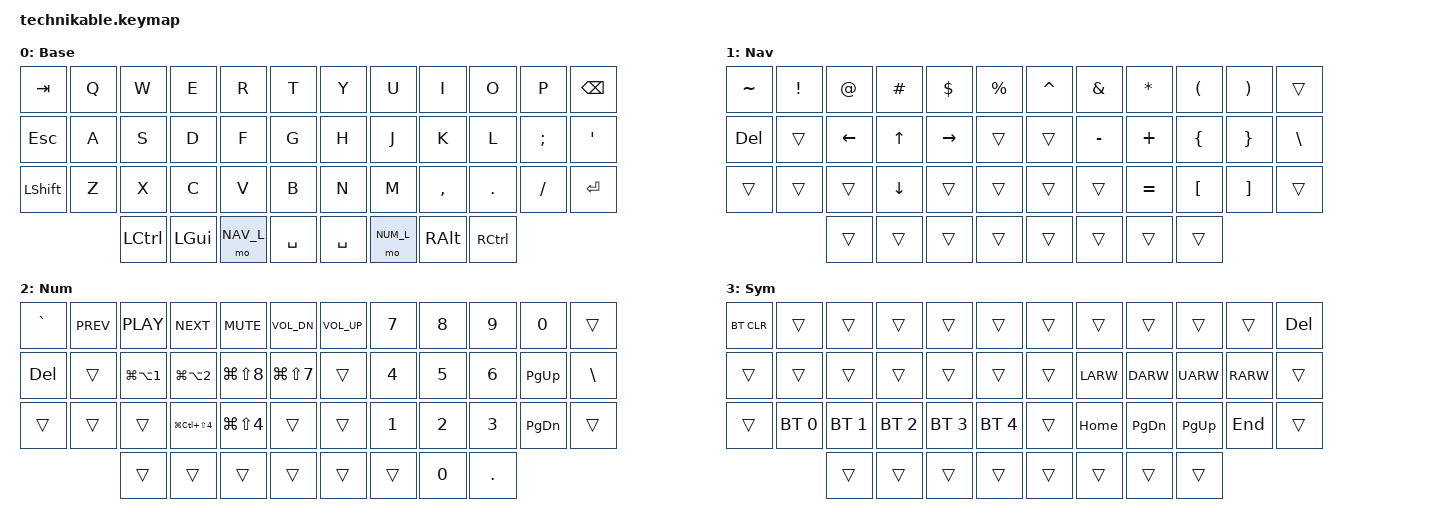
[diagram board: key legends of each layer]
/*
 * Copyright (c) 2022 Pete Johanson
 *
 * SPDX-License-Identifier: MIT
 */

#include <behaviors.dtsi>
#include <dt-bindings/zmk/keys.h>
#include <dt-bindings/zmk/bt.h>
#include <dt-bindings/zmk/outputs.h>

#define BAS_L 0
#define NAV_L 1
#define NUM_L 2
#define SYM_L 3

// Using layer taps on thumbs, having quick tap as well helps w/ repeating space/backspace
&lt { quick_tap_ms = <200>; };

/ {
    chosen {
       zmk,matrix_transform = &ortho_transform;
    };
    soft_off {
        hold-time-ms = <5000>;
    };
    conditional_layers {
        compatible = "zmk,conditional-layers";
	tri_layer {
	    if-layers = <NAV_L NUM_L>;
	    then-layer = <SYM_L>;
	};
    };

    keymap {
        compatible = "zmk,keymap";


         base_layer {
             label = "Base";
             bindings = <
                 &kp TAB   &kp Q   &kp W      &kp E    &kp R     &kp T     &kp Y     &kp U       &kp I     &kp O   &kp P     &kp BKSP
                 &kp ESC   &kp A   &kp S      &kp D    &kp F     &kp G     &kp H     &kp J       &kp K     &kp L   &kp SEMI  &kp QUOT
                 &kp LSHFT &kp Z   &kp X      &kp C    &kp V     &kp B     &kp N     &kp M       &kp COMMA &kp DOT &kp FSLH  &kp RET
                                   &kp LCTRL  &kp LGUI &mo NAV_L &kp SPACE &kp SPACE &mo NUM_L   &kp RALT  &kp RCTRL
             >;
         };

        nav_layer {
            label = "Nav";
            

bindings = <
        &kp TILDE       &kp EXCL    &kp AT      &kp HASH    &kp DLLR    &kp PRCNT  &kp CARET      &kp AMPS    &kp ASTRK   &kp LPAR    &kp RPAR    &trans
        &kp DEL         &trans      &kp LEFT    &kp UP      &kp RIGHT    &trans     &trans        &kp MINUS   &kp PLUS   &kp LBRC    &kp RBRC    &kp BSLH
        &trans          &trans      &trans      &kp DOWN    &trans      &trans     &trans         &trans      &kp EQUAL   &kp LBKT    &kp RBKT    &trans
                                    &trans      &trans      &trans      &trans     &trans         &trans      &trans      &trans     
            >;
        };

        num_layer {
            label = "Num";
            bindings = <
                &kp GRAVE  &kp C_PREV  &kp C_PLAY       &kp C_NEXT           &kp C_MUTE        &kp C_VOL_DN       &kp C_VOL_UP &kp N7 &kp N8 &kp N9 &kp N0 &trans
                &kp DEL    &trans      &kp LG(LA(N1))   &kp LG(LA(N2))       &kp LG(LS(N8))    &kp LG(LS(N7))     &trans       &kp N4 &kp N5 &kp N6 &kp PG_UP &kp BSLH
                &trans     &trans      &trans           &kp LG(LC(LS(N4)))   &kp LG(LS(N4))    &trans             &trans       &kp N1 &kp N2 &kp N3 &kp PG_DN &trans
                                       &trans           &trans               &trans            &trans             &trans       &trans &kp N0 &kp DOT
            >;
        };

        sym_layer {
            label = "Sym";
            bindings = <
&bt BT_CLR &trans     &trans     &trans      &trans          &trans       &trans     &trans         &trans      &trans     &trans     &kp DEL
&trans     &trans     &trans     &trans      &trans          &trans       &trans     &kp LARW       &kp DARW    &kp UARW   &kp RARW   &trans
&trans     &bt BT_SEL 0  &bt BT_SEL 1  &bt BT_SEL 2   &bt BT_SEL 3       &bt BT_SEL 4    &trans     &kp HOME       &kp PG_DN   &kp PG_UP  &kp END    &trans
                      &trans     &trans      &trans          &trans       &trans    &trans  &trans         &trans

            >;
        };

    };
};
